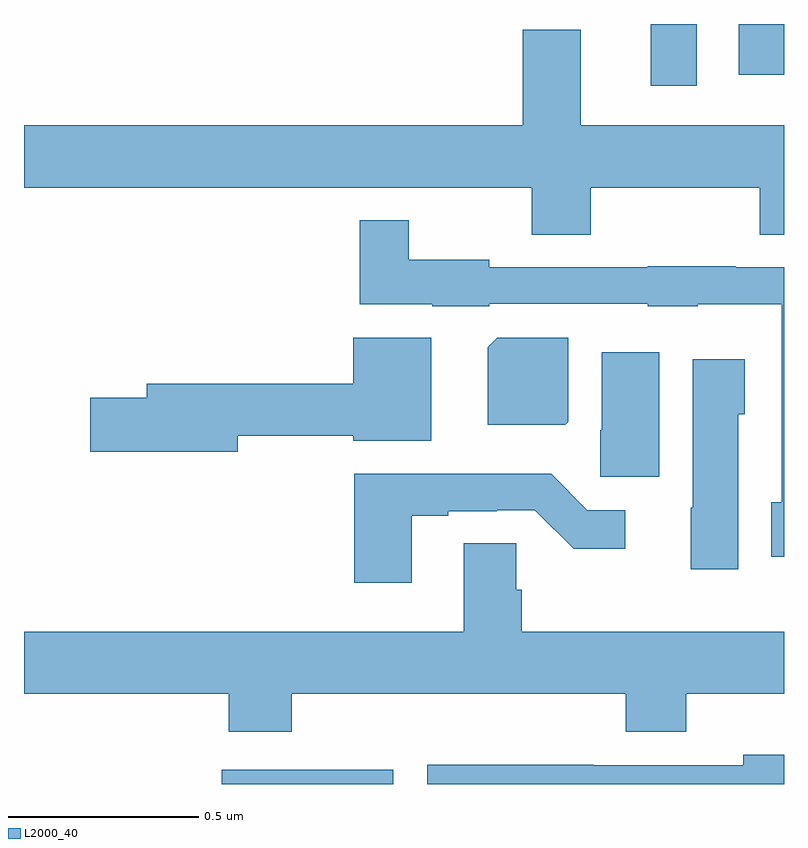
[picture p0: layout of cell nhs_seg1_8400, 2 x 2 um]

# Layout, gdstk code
import gdstk
lib = gdstk.Library(unit=1e-6, precision=1e-09)
def R(c, l, rs):  # rectangles x0, y0, x1, y1
    for r in rs: c.add(gdstk.rectangle(r[:2], r[2:], *l))
def P(c, l, *ps):  # polygons
    for p in ps: c.add(gdstk.Polygon(p, *l))
L2000_40 = (2000, 40)

nhs_seg1_8400 = lib.new_cell('nhs_seg1_8400')
R(nhs_seg1_8400, L2000_40, [(216.521,514.199,216.972,514.237), (217.649,516.036,217.771,516.199), (217.881,516.065,218,516.199)])
P(nhs_seg1_8400, L2000_40, [(217.491,515.768),(217.936,515.768),(217.936,515.644),(218,515.644),(218,515.932),(217.465,515.932),(217.465,516.184),(217.313,516.184),(217.313,515.932),(216,515.932),(216,515.768),(217.336,515.768),(217.336,515.644),(217.491,515.644)],
  [(218,515.559),(217.873,515.559),(217.873,515.561),(217.641,515.561),(217.641,515.559),(217.224,515.559),(217.224,515.578),(217.012,515.578),(217.012,515.683),(216.883,515.683),(216.883,515.462),(217.074,515.462),(217.074,515.456),(217.224,515.456),(217.224,515.463),(217.641,515.463),(217.641,515.456),(217.773,515.456),(217.773,515.462),(217.994,515.462),(217.994,514.941),(217.967,514.941),(217.967,514.797),(218,514.797)],
  [(216.562,515.116),(216.866,515.116),(216.866,515.102),(217.072,515.102),(217.072,515.374),(216.866,515.374),(216.866,515.252),(216.323,515.252),(216.323,515.216),(216.174,515.216),(216.174,515.074),(216.562,515.074)],
  [(217.432,515.152),(217.432,515.374),(217.246,515.374),(217.22,515.348),(217.22,515.144),(217.424,515.144)],
  [(217.672,515.335),(217.52,515.335),(217.52,515.13),(217.516,515.13),(217.516,515.007),(217.672,515.007)],
  [(217.879,515.172),(217.897,515.172),(217.897,515.317),(217.76,515.317),(217.76,514.926),(217.754,514.926),(217.754,514.764),(217.879,514.764)],
  [(217.021,514.905),(217.117,514.905),(217.117,514.917),(217.244,514.917),(217.244,514.92),(217.344,514.92),(217.447,514.818),(217.582,514.818),(217.582,514.92),(217.482,514.92),(217.387,515.015),(216.869,515.015),(216.869,514.728),(217.021,514.728)],
  [(216.704,514.436),(217.583,514.436),(217.583,514.337),(217.743,514.337),(217.743,514.436),(218,514.436),(218,514.6),(217.31,514.6),(217.31,514.71),(217.296,514.71),(217.296,514.832),(217.157,514.832),(217.157,514.6),(216,514.6),(216,514.436),(216.539,514.436),(216.539,514.337),(216.704,514.337)],
  [(218,514.276),(217.893,514.276),(217.893,514.248),(217.499,514.248),(217.499,514.25),(217.061,514.25),(217.061,514.199),(218,514.199)])

lib.write_gds('nhs_seg1_8400.gds')
